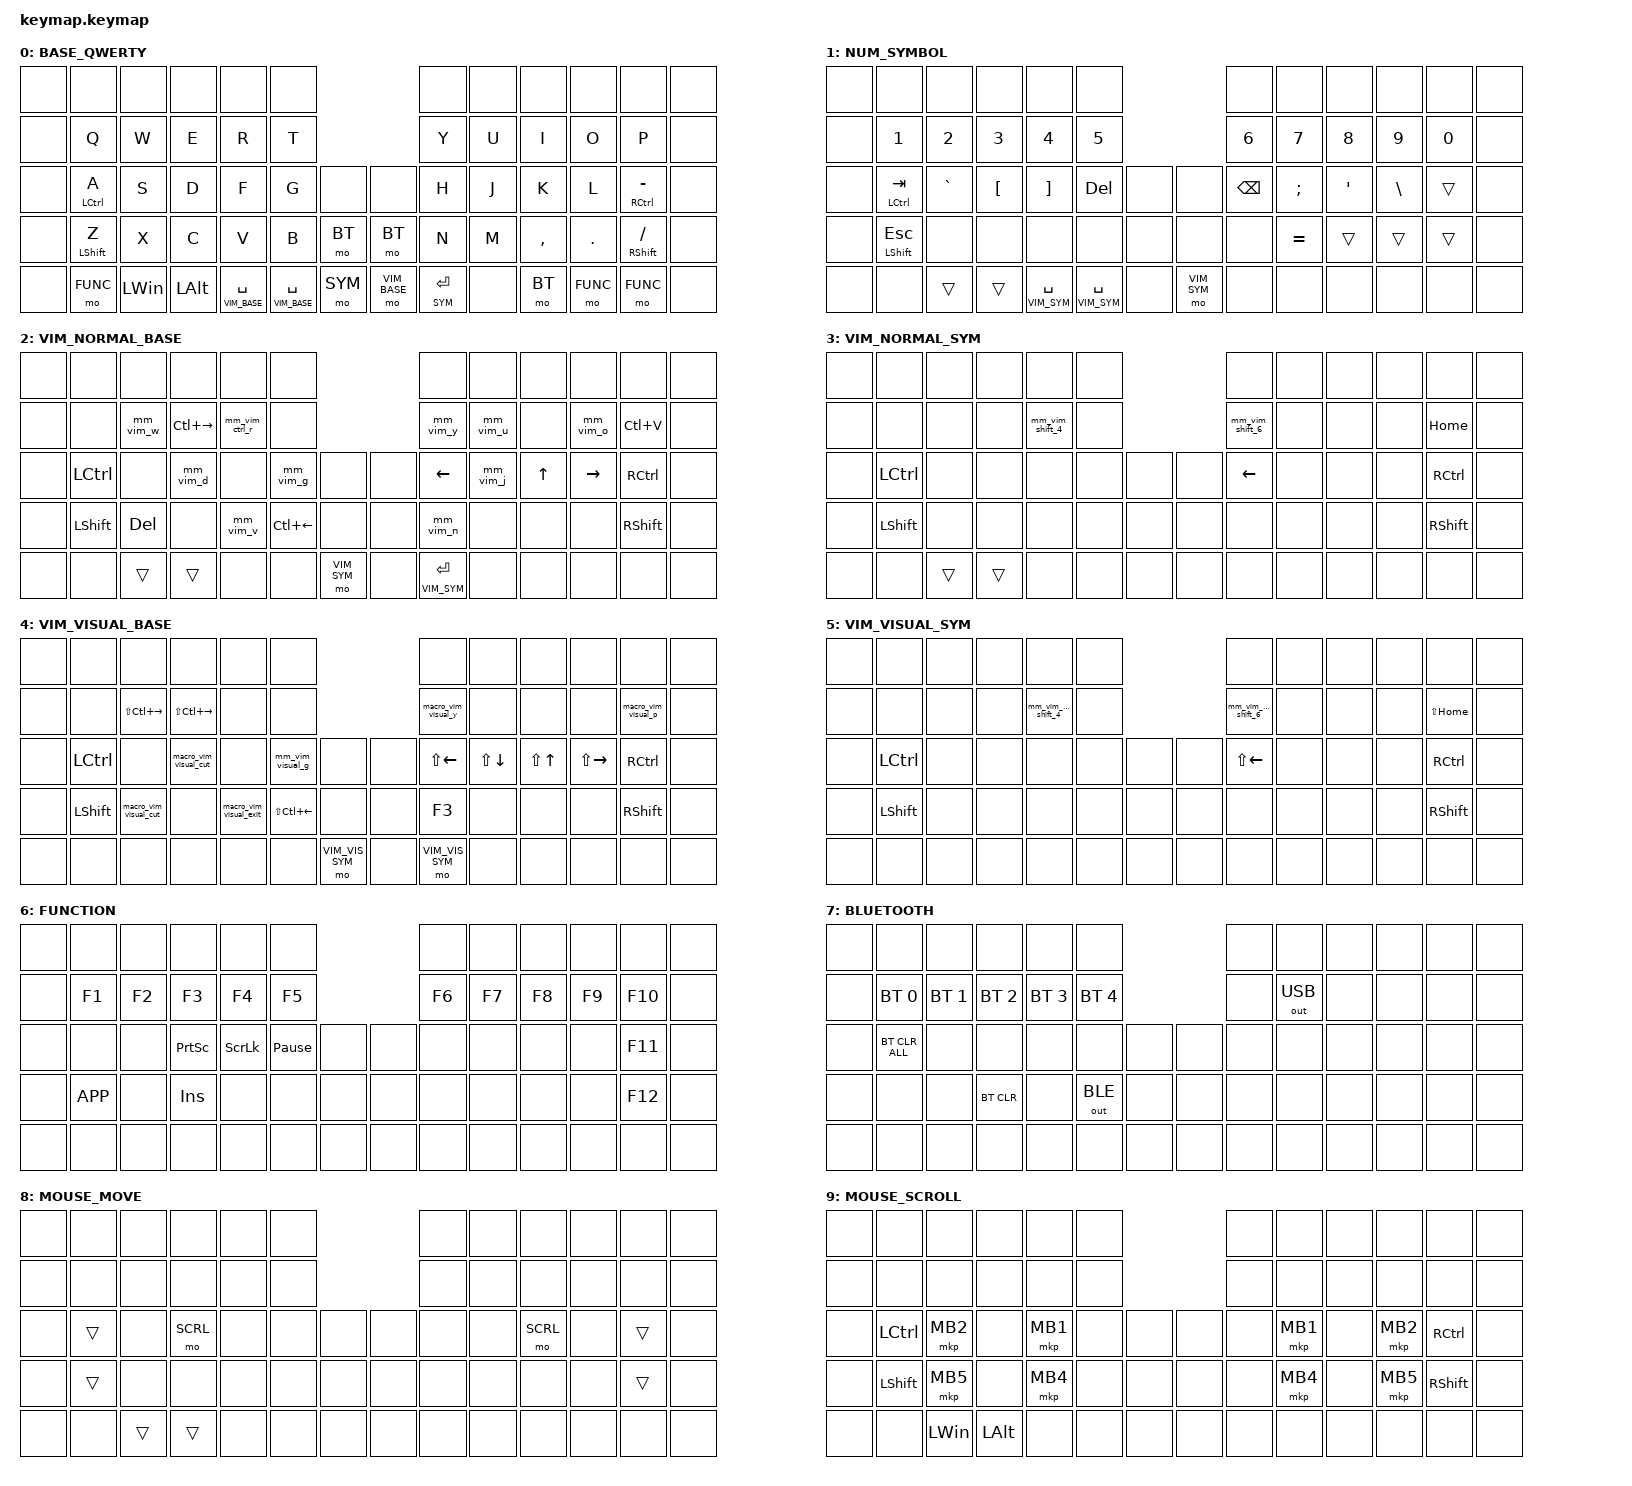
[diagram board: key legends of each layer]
#include <input/processors.dtsi>
#include <behaviors.dtsi>
#include <dt-bindings/zmk/bt.h>
#include <dt-bindings/zmk/keys.h>
#include <dt-bindings/zmk/outputs.h>
#include <dt-bindings/zmk/pointing.h>

/*
 * LisM のキーマップを torabo-tsuki LP（66 ポジション・L レイアウト）へ移植したもの。
 *
 * 物理レイアウトの違い（LisM: 10/10/10/12、torabo-tsuki LP: 12/12/14/14/14）は
 * 次のルールで吸収している:
 *   - 最上段（row0）と各行の外側 1 列はキーが無いため &none で埋める
 *   - ホーム段（A の行）中央の 2 キーは LisM に無いため &none
 *   - LisM 最下段右の &mo BT（I 列の下）は同じ位置に置き、他の機種と揃えて 3 段目中央の 2 キーにも置く
 *   - LisM の左親指の空き（&none）に当たるキーは SPACE の複製（&lt VIM_BASE SPACE）とする
 *   - その他のキーは同じ行・同じ並びのまま（LisM で &none の ENTER の右隣も &none）
 *
 * レイヤー番号の別名定義。
 *   &mo / &lt / &to などの「経路（どのレイヤーへ移動するか）」を
 *   数字ではなく名前で書けるようにして可読性を上げる。
 *   ※ レイヤーノード名（BASE_QWERTY 等）との衝突を避けるため別名にしている。
 *
 *   番号  別名        レイヤーノード      役割
 *   ----  ----------  -----------------   ------------------------------
 *    0    BASE        BASE_QWERTY         通常入力（QWERTY）
 *    1    SYM         NUM_SYMBOL          数字・記号
 *    2    VIM_BASE    VIM_NORMAL_BASE     BASE 層に対応する Vim ノーマル
 *    3    VIM_SYM     VIM_NORMAL_SYM      SYM 層に対応する Vim ノーマル
 *    4    VIM_VISUAL  VIM_VISUAL_BASE     BASE 層に対応する Vim ビジュアル
 *    5    VIM_VIS_SYM VIM_VISUAL_SYM      SYM 層に対応する Vim ビジュアル
 *    6    FUNC        FUNCTION            ファンクションキー
 *    7    BT          BLUETOOTH           Bluetooth／出力切替
 *    8    MOUS        MOUSE_MOVE          マウス移動（AML・最上位）
 *    9    SCRL        MOUSE_SCROLL        スクロール／クリック（MOUSE_MOVE の子）
 */

#define BASE        0
#define SYM         1
#define VIM_BASE    2
#define VIM_SYM     3
#define VIM_VISUAL  4
#define VIM_VIS_SYM 5
#define FUNC        6
#define BT          7
#define MOUS        8
#define SCRL        9

&mt {
    quick-tap-ms = <0>;
    tapping-term-ms = <150>;
    flavor = "balanced";
};

&lt {
    tapping-term-ms = <150>;
    quick-tap-ms = <0>;
    flavor = "balanced";
};

/*
 * AML (MOUSE_MOVE) 中に押しても AML を解除しないキー位置。
 *   D / K: スクロール用の &mo SCRL。
 * 修飾キーの位置 (A / - / Z / / / Win / Alt) は除外しない。MOUSE_MOVE では &trans
 * (BASE と同じ &mt / &kp) で、押すと AML が切れる (タップで文字、長押しで修飾キー)。
 * 修飾キーとクリック・ホイールを組み合わせるときは、D / K を押してから修飾キーを押す
 * (MOUSE_SCROLL の Ctrl / Shift / Win / Alt になる。例: D → Z → F で Shift + クリック)。
 */
&zip_temp_layer {
    excluded-positions = <
        27 // D (&mo SCRL)
        34 // K (&mo SCRL)
    >;

    // キーを押した・離したあと、この時間はボールを動かしても AML にしない。トラックボールのリスナーの
    // aml_threshold (torabo_tsuki_lp.dtsi) もこの値を使い、すべてのキーの押下と解放を数える
    // (zip_temp_layer 自身はキーコードの押下しか数えない)
    require-prior-idle-ms = <200>;
};

&mkp_input_listener { input-processors = <&zip_temp_layer MOUS 10000>; };

/ {
    combos { compatible = "zmk,combos"; };

    /*
     * カスタムビヘイビア命名規則
     *   A. 構造: <prefix>_vim_<id>（prefix = macro_ / td_ / mm_）。
     *      ノードラベル == ノード名、label = "<ラベルの大文字>" に揃える。
     *   B. mm_ の <id>: キーに直接置くモーフは無修飾時の vim キー名で命名
     *      （mm_vim_d / mm_vim_g など）。ベースが &none、またはネスト用
     *      ヘルパーは「修飾+キーストローク」で命名（mm_vim_shift_4 /
     *      mm_vim_ctrl_r / mm_vim_shift_d）。
     */

    macros {
        macro_vim_dd: macro_vim_dd {
            compatible = "zmk,behavior-macro";
            #binding-cells = <0>;
            bindings =
                <&kp HOME>,
                <&macro_wait_time 100>,
                <&kp LS(END)>,
                <&macro_wait_time 100>,
                <&kp LC(X)>;

            label = "MACRO_VIM_DD";
        };

        macro_vim_yy: macro_vim_yy {
            compatible = "zmk,behavior-macro";
            #binding-cells = <0>;
            bindings =
                <&kp HOME>,
                <&macro_wait_time 100>,
                <&kp LS(END)>,
                <&macro_wait_time 100>,
                <&kp LC(C)>;

            label = "MACRO_VIM_YY";
        };

        macro_vim_shift_d: macro_vim_shift_d {
            compatible = "zmk,behavior-macro";
            #binding-cells = <0>;
            bindings = <&kp LS(END)>, <&macro_wait_time 100>, <&kp LC(X)>;

            label = "MACRO_VIM_SHIFT_D";
        };

        macro_vim_shift_y: macro_vim_shift_y {
            compatible = "zmk,behavior-macro";
            #binding-cells = <0>;
            bindings = <&kp LS(END)>, <&macro_wait_time 100>, <&kp LC(C)>;

            label = "MACRO_VIM_SHIFT_Y";
        };

        macro_vim_o: macro_vim_o {
            compatible = "zmk,behavior-macro";
            #binding-cells = <0>;
            bindings = <&kp END>, <&macro_wait_time 100>, <&kp ENTER>;

            label = "MACRO_VIM_O";
        };

        macro_vim_shift_o: macro_vim_shift_o {
            compatible = "zmk,behavior-macro";
            #binding-cells = <0>;
            bindings =
                <&kp HOME>,
                <&macro_wait_time 100>,
                <&kp ENTER>,
                <&macro_wait_time 100>,
                <&kp UP_ARROW>;

            label = "MACRO_VIM_SHIFT_O";
        };

        macro_vim_join: macro_vim_join {
            compatible = "zmk,behavior-macro";
            #binding-cells = <0>;
            bindings =
                <&kp END>,
                <&macro_wait_time 100>,
                <&kp DELETE>,
                <&macro_wait_time 100>,
                <&kp SPACE>;

            label = "MACRO_VIM_JOIN";
        };

        macro_vim_visual_y: macro_vim_visual_y {
            compatible = "zmk,behavior-macro";
            #binding-cells = <0>;
            bindings =
                <&macro_release>,
                <&kp LSHIFT &kp RSHIFT>,
                <&macro_tap>,
                <&kp LC(C)>,
                <&macro_wait_time 50>,
                <&kp RIGHT>,
                <&macro_wait_time 50>,
                <&to BASE>;

            label = "MACRO_VIM_VISUAL_Y";
        };

        macro_vim_visual_cut: macro_vim_visual_cut {
            compatible = "zmk,behavior-macro";
            #binding-cells = <0>;
            bindings =
                <&macro_release>,
                <&kp LSHIFT &kp RSHIFT>,
                <&macro_tap>,
                <&kp LC(X)>,
                <&macro_wait_time 50>,
                <&to BASE>;

            label = "MACRO_VIM_VISUAL_CUT";
        };

        macro_vim_visual_p: macro_vim_visual_p {
            compatible = "zmk,behavior-macro";
            #binding-cells = <0>;
            bindings =
                <&macro_release>,
                <&kp LSHIFT &kp RSHIFT>,
                <&macro_tap>,
                <&kp LC(V)>,
                <&macro_wait_time 50>,
                <&to BASE>;

            label = "MACRO_VIM_VISUAL_P";
        };

        macro_vim_v_line: macro_vim_v_line {
            compatible = "zmk,behavior-macro";
            #binding-cells = <0>;
            bindings =
                <&kp HOME>,
                <&macro_wait_time 50>,
                <&kp LS(DOWN)>,
                <&macro_wait_time 50>,
                <&to VIM_VISUAL>;

            label = "MACRO_VIM_V_LINE";
        };

        macro_vim_visual_exit: macro_vim_visual_exit {
            compatible = "zmk,behavior-macro";
            #binding-cells = <0>;
            bindings =
                <&macro_release>,
                <&kp LSHIFT &kp RSHIFT>,
                <&macro_tap>,
                <&kp RIGHT>,
                <&macro_wait_time 50>,
                <&to BASE>;

            label = "MACRO_VIM_VISUAL_EXIT";
        };
    };

    behaviors {
        td_vim_d: td_vim_d {
            compatible = "zmk,behavior-tap-dance";
            label = "TD_VIM_D";
            #binding-cells = <0>;
            bindings = <&none>, <&macro_vim_dd>;
        };

        mm_vim_shift_d: mm_vim_shift_d {
            compatible = "zmk,behavior-mod-morph";
            label = "MM_VIM_SHIFT_D";
            bindings = <&td_vim_d>, <&macro_vim_shift_d>;

            #binding-cells = <0>;
            mods = <(MOD_LSFT|MOD_RSFT)>;
        };

        td_vim_y: td_vim_y {
            compatible = "zmk,behavior-tap-dance";
            label = "TD_VIM_Y";
            #binding-cells = <0>;
            bindings = <&none>, <&macro_vim_yy>;
        };

        mm_vim_y: mm_vim_y {
            compatible = "zmk,behavior-mod-morph";
            label = "MM_VIM_Y";
            bindings = <&td_vim_y>, <&macro_vim_shift_y>;

            #binding-cells = <0>;
            mods = <(MOD_LSFT|MOD_RSFT)>;
        };

        mm_vim_u: mm_vim_u {
            compatible = "zmk,behavior-mod-morph";
            label = "MM_VIM_U";
            bindings = <&kp LC(Z)>, <&kp PAGE_UP>;

            #binding-cells = <0>;
            mods = <(MOD_LCTL|MOD_RCTL)>;
        };

        mm_vim_o: mm_vim_o {
            compatible = "zmk,behavior-mod-morph";
            label = "MM_VIM_O";
            bindings = <&macro_vim_o>, <&macro_vim_shift_o>;

            #binding-cells = <0>;
            mods = <(MOD_LSFT|MOD_RSFT)>;
        };

        mm_vim_d: mm_vim_d {
            compatible = "zmk,behavior-mod-morph";
            label = "MM_VIM_D";
            bindings = <&mm_vim_shift_d>, <&kp PAGE_DOWN>;

            #binding-cells = <0>;
            mods = <(MOD_LCTL|MOD_RCTL)>;
        };

        mm_vim_shift_4: mm_vim_shift_4 {
            compatible = "zmk,behavior-mod-morph";
            label = "MM_VIM_SHIFT_4";
            bindings = <&none>, <&kp END>;

            #binding-cells = <0>;
            mods = <(MOD_LSFT|MOD_RSFT)>;
        };

        mm_vim_ctrl_r: mm_vim_ctrl_r {
            compatible = "zmk,behavior-mod-morph";
            label = "MM_VIM_CTRL_R";
            bindings = <&none>, <&kp LC(Y)>;

            #binding-cells = <0>;
            mods = <(MOD_LCTL|MOD_RCTL)>;
        };

        td_vim_g: td_vim_g {
            compatible = "zmk,behavior-tap-dance";
            label = "TD_VIM_G";
            #binding-cells = <0>;
            bindings = <&none>, <&kp LC(HOME)>;
        };

        mm_vim_g: mm_vim_g {
            compatible = "zmk,behavior-mod-morph";
            label = "MM_VIM_G";
            bindings = <&td_vim_g>, <&kp LC(END)>;

            #binding-cells = <0>;
            mods = <(MOD_LSFT|MOD_RSFT)>;
        };

        mm_vim_j: mm_vim_j {
            compatible = "zmk,behavior-mod-morph";
            label = "MM_VIM_J";
            bindings = <&kp DOWN>, <&macro_vim_join>;

            #binding-cells = <0>;
            mods = <(MOD_LSFT|MOD_RSFT)>;
        };

        mm_vim_shift_6: mm_vim_shift_6 {
            compatible = "zmk,behavior-mod-morph";
            label = "MM_VIM_SHIFT_6";
            bindings = <&none>, <&kp HOME>;

            #binding-cells = <0>;
            mods = <(MOD_LSFT|MOD_RSFT)>;
        };

        mm_vim_v: mm_vim_v {
            compatible = "zmk,behavior-mod-morph";
            label = "MM_VIM_V";
            bindings = <&to VIM_VISUAL>, <&macro_vim_v_line>;

            #binding-cells = <0>;
            mods = <(MOD_LSFT|MOD_RSFT)>;
        };

        td_vim_visual_g: td_vim_visual_g {
            compatible = "zmk,behavior-tap-dance";
            label = "TD_VIM_VISUAL_G";
            #binding-cells = <0>;
            bindings = <&none>, <&kp LS(LC(HOME))>;
        };

        mm_vim_visual_g: mm_vim_visual_g {
            compatible = "zmk,behavior-mod-morph";
            label = "MM_VIM_VISUAL_G";
            bindings = <&td_vim_visual_g>, <&kp LS(LC(END))>;

            #binding-cells = <0>;
            mods = <(MOD_LSFT|MOD_RSFT)>;
        };

        mm_vim_visual_shift_4: mm_vim_visual_shift_4 {
            compatible = "zmk,behavior-mod-morph";
            label = "MM_VIM_VISUAL_SHIFT_4";
            bindings = <&none>, <&kp LS(END)>;

            #binding-cells = <0>;
            mods = <(MOD_LSFT|MOD_RSFT)>;
        };

        mm_vim_visual_shift_6: mm_vim_visual_shift_6 {
            compatible = "zmk,behavior-mod-morph";
            label = "MM_VIM_VISUAL_SHIFT_6";
            bindings = <&none>, <&kp LS(HOME)>;

            #binding-cells = <0>;
            mods = <(MOD_LSFT|MOD_RSFT)>;
        };

        mm_vim_n: mm_vim_n {
            compatible = "zmk,behavior-mod-morph";
            label = "MM_VIM_N";
            bindings = <&kp F3>, <&kp LS(F3)>;

            #binding-cells = <0>;
            mods = <(MOD_LSFT|MOD_RSFT)>;
        };

        mm_vim_w: mm_vim_w {
            compatible = "zmk,behavior-mod-morph";
            label = "MM_VIM_W";
            bindings = <&kp LC(RIGHT)>, <&kp LC(BACKSPACE)>;

            #binding-cells = <0>;
            mods = <(MOD_LCTL|MOD_RCTL)>;
        };
    };

    keymap {
        compatible = "zmk,keymap";

        BASE_QWERTY {
            bindings = <
&none  &none               &none         &none         &none               &none                                            &none          &none  &none      &none       &none                  &none
&none  &kp Q               &kp W         &kp E         &kp R               &kp T                                            &kp Y          &kp U  &kp I      &kp O       &kp P                  &none
&none  &mt LEFT_CONTROL A  &kp S         &kp D         &kp F               &kp G               &none    &none               &kp H          &kp J  &kp K      &kp L       &mt RCTRL MINUS        &none
&none  &mt LEFT_SHIFT Z    &kp X         &kp C         &kp V               &kp B               &mo BT   &mo BT              &kp N          &kp M  &kp COMMA  &kp PERIOD  &mt RIGHT_SHIFT SLASH  &none
&none  &mo FUNC            &kp LEFT_WIN  &kp LEFT_ALT  &lt VIM_BASE SPACE  &lt VIM_BASE SPACE  &mo SYM  &mo VIM_BASE        &lt SYM ENTER  &none  &mo BT     &mo FUNC    &mo FUNC               &none
            >;
        };

        NUM_SYMBOL {
            bindings = <
&none  &none                  &none      &none             &none              &none                                          &none          &none          &none             &none          &none   &none
&none  &kp N1                 &kp N2     &kp N3            &kp N4             &kp N5                                         &kp N6         &kp N7         &kp N8            &kp N9         &kp N0  &none
&none  &mt LCTRL TAB          &kp GRAVE  &kp LEFT_BRACKET  &kp RIGHT_BRACKET  &kp DELETE         &none  &none                &kp BACKSPACE  &kp SEMICOLON  &kp SINGLE_QUOTE  &kp BACKSLASH  &trans  &none
&none  &mt LEFT_SHIFT ESCAPE  &none      &none             &none              &none              &none  &none                &none          &kp EQUAL      &trans            &trans         &trans  &none
&none  &none                  &trans     &trans            &lt VIM_SYM SPACE  &lt VIM_SYM SPACE  &none  &mo VIM_SYM          &none          &none          &none             &none          &none   &none
            >;
        };

        VIM_NORMAL_BASE {
            bindings = <
&none  &none           &none       &none          &none           &none                                    &none              &none      &none         &none      &none            &none
&none  &none           &mm_vim_w   &kp LC(RIGHT)  &mm_vim_ctrl_r  &none                                    &mm_vim_y          &mm_vim_u  &none         &mm_vim_o  &kp LC(V)        &none
&none  &kp LCTRL       &none       &mm_vim_d      &none           &mm_vim_g     &none        &none         &kp LEFT           &mm_vim_j  &kp UP_ARROW  &kp RIGHT  &kp RCTRL        &none
&none  &kp LEFT_SHIFT  &kp DELETE  &none          &mm_vim_v       &kp LC(LEFT)  &none        &none         &mm_vim_n          &none      &none         &none      &kp RIGHT_SHIFT  &none
&none  &none           &trans      &trans         &none           &none         &mo VIM_SYM  &none         &lt VIM_SYM ENTER  &none      &none         &none      &none            &none
            >;
        };

        VIM_NORMAL_SYM {
            bindings = <
&none  &none           &none   &none   &none            &none                        &none            &none  &none  &none   &none            &none
&none  &none           &none   &none   &mm_vim_shift_4  &none                        &mm_vim_shift_6  &none  &none  &none   &kp HOME         &none
&none  &kp LCTRL       &none   &none   &none            &none  &none  &none          &kp LEFT         &none  &none  &none   &kp RCTRL        &none
&none  &kp LEFT_SHIFT  &none   &none   &none            &none  &none  &none          &none            &none  &none  &none   &kp RIGHT_SHIFT  &none
&none  &none           &trans  &trans  &none            &none  &none  &none          &none            &none  &none  &none   &none            &none
            >;
        };

        VIM_VISUAL_BASE {
            bindings = <
&none  &none           &none                  &none                  &none                   &none                                            &none                &none         &none       &none          &none                &none
&none  &none           &kp LS(LC(RIGHT))      &kp LS(LC(RIGHT))      &none                   &none                                            &macro_vim_visual_y  &none         &none       &none          &macro_vim_visual_p  &none
&none  &kp LCTRL       &none                  &macro_vim_visual_cut  &none                   &mm_vim_visual_g  &none            &none         &kp LS(LEFT)         &kp LS(DOWN)  &kp LS(UP)  &kp LS(RIGHT)  &kp RCTRL            &none
&none  &kp LEFT_SHIFT  &macro_vim_visual_cut  &none                  &macro_vim_visual_exit  &kp LS(LC(LEFT))  &none            &none         &kp F3               &none         &none       &none          &kp RIGHT_SHIFT      &none
&none  &none           &none                  &none                  &none                   &none             &mo VIM_VIS_SYM  &none         &mo VIM_VIS_SYM      &none         &none       &none          &none                &none
            >;
        };

        VIM_VISUAL_SYM {
            bindings = <
&none  &none           &none  &none  &none                   &none                        &none                   &none  &none  &none  &none            &none
&none  &none           &none  &none  &mm_vim_visual_shift_4  &none                        &mm_vim_visual_shift_6  &none  &none  &none  &kp LS(HOME)     &none
&none  &kp LCTRL       &none  &none  &none                   &none  &none  &none          &kp LS(LEFT)            &none  &none  &none  &kp RCTRL        &none
&none  &kp LEFT_SHIFT  &none  &none  &none                   &none  &none  &none          &none                   &none  &none  &none  &kp RIGHT_SHIFT  &none
&none  &none           &none  &none  &none                   &none  &none  &none          &none                   &none  &none  &none  &none            &none
            >;
        };

        FUNCTION {
            bindings = <
&none  &none      &none   &none            &none           &none                                  &none   &none   &none   &none   &none    &none
&none  &kp F1     &kp F2  &kp F3           &kp F4          &kp F5                                 &kp F6  &kp F7  &kp F8  &kp F9  &kp F10  &none
&none  &none      &none   &kp PRINTSCREEN  &kp SCROLLLOCK  &kp PAUSE_BREAK  &none  &none          &none   &none   &none   &none   &kp F11  &none
&none  &kp K_APP  &none   &kp INSERT       &none           &none            &none  &none          &none   &none   &none   &none   &kp F12  &none
&none  &none      &none   &none            &none           &none            &none  &none          &none   &none   &none   &none   &none    &none
            >;
        };

        BLUETOOTH {
            bindings = <
&none  &none           &none         &none         &none         &none                               &none  &none         &none  &none  &none  &none
&none  &bt BT_SEL 0    &bt BT_SEL 1  &bt BT_SEL 2  &bt BT_SEL 3  &bt BT_SEL 4                        &none  &out OUT_USB  &none  &none  &none  &none
&none  &bt BT_CLR_ALL  &none         &none         &none         &none         &none  &none          &none  &none         &none  &none  &none  &none
&none  &none           &none         &bt BT_CLR    &none         &out OUT_BLE  &none  &none          &none  &none         &none  &none  &none  &none
&none  &none           &none         &none         &none         &none         &none  &none          &none  &none         &none  &none  &none  &none
            >;
        };

        MOUSE_MOVE {
            bindings = <
&none  &none           &none         &none         &none  &none                        &none  &none  &none     &none  &none            &none
&none  &none           &none         &none         &none  &none                        &none  &none  &none     &none  &none            &none
&none  &trans          &none         &mo SCRL      &none  &none  &none  &none          &none  &none  &mo SCRL  &none  &trans           &none
&none  &trans          &none         &none         &none  &none  &none  &none          &none  &none  &none     &none  &trans           &none
&none  &none           &trans        &trans        &none  &none  &none  &none          &none  &none  &none     &none  &none            &none
            >;
        };

        MOUSE_SCROLL {
            bindings = <
&none  &none           &none         &none         &none     &none                        &none  &none     &none  &none     &none            &none
&none  &none           &none         &none         &none     &none                        &none  &none     &none  &none     &none            &none
&none  &kp LCTRL       &mkp MB2      &none         &mkp MB1  &none  &none  &none          &none  &mkp MB1  &none  &mkp MB2  &kp RCTRL        &none
&none  &kp LEFT_SHIFT  &mkp MB5      &none         &mkp MB4  &none  &none  &none          &none  &mkp MB4  &none  &mkp MB5  &kp RIGHT_SHIFT  &none
&none  &none           &kp LEFT_WIN  &kp LEFT_ALT  &none     &none  &none  &none          &none  &none     &none  &none     &none            &none
            >;
        };
    };
};
